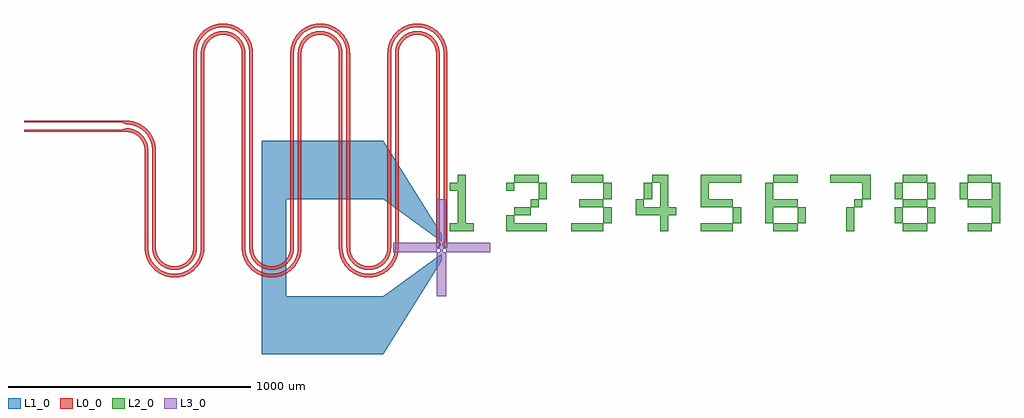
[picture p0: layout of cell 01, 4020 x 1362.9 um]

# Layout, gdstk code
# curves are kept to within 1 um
import gdstk
lib = gdstk.Library(unit=1e-6, precision=1e-09)
def R(c, l, rs):  # rectangles x0, y0, x1, y1
    for r in rs: c.add(gdstk.rectangle(r[:2], r[2:], *l))
def P(c, l, *ps):  # polygons
    for p in ps: c.add(gdstk.Polygon(p, *l))
L0_0 = (0, 0)
L1_0 = (1, 0)
L2_0 = (2, 0)
L3_0 = (3, 0)

c_01 = lib.new_cell('01')
R(c_01, L0_0, [(-1222.9,0,-1208.3,400), (-1191.7,0,-1177.1,400), (-1022.9,0,-1008.3,800), (-991.7,0,-977.1,800), (-822.9,0,-808.3,800), (-791.7,0,-777.1,800), (-622.9,0,-608.3,800), (-591.7,0,-577.1,800), (-422.9,0,-408.3,800), (-391.7,0,-377.1,800), (-222.9,0,-208.3,800), (-191.7,0,-177.1,800), (-22.9,0,-8.3,800), (8.3,0,22.9,800), (-1720,477.1,-1320,484.5), (-1720,515.5,-1320,522.9)])
P(c_01, L0_0, [(-8.3,800),(-10.239,818.757),(-15.056,834.546),(-22.626,849.215),(-34.329,864.001),(-48.809,876.081),(-65.454,884.944),(-81.243,889.761),(-100,891.7),(-100,877.1),(-86.177,875.851),(-70.954,871.42),(-56.959,863.968),(-46.189,855.215),(-36.032,843.041),(-28.58,829.046),(-24.149,813.823),(-22.9,800)],
  [(22.9,800),(20.909,822.034),(13.845,846.3),(3.7,865.96),(-11.985,885.777),(-31.392,901.967),(-53.7,913.845),(-77.966,920.909),(-100,922.9),(-100,908.3),(-77.847,906.01),(-59.2,900.321),(-39.542,889.854),(-24.413,877.559),(-10.146,860.458),(0.321,840.8),(6.01,822.153),(8.3,800)],
  [(-100,891.7),(-118.757,889.761),(-134.546,884.944),(-149.215,877.374),(-164.001,865.671),(-176.081,851.191),(-184.944,834.546),(-189.761,818.757),(-191.7,800),(-177.1,800),(-175.851,813.823),(-171.42,829.046),(-163.968,843.041),(-155.215,853.811),(-143.041,863.968),(-129.046,871.42),(-113.823,875.851),(-100,877.1)],
  [(-100,922.9),(-122.034,920.909),(-146.3,913.845),(-165.96,903.7),(-185.777,888.015),(-201.967,868.608),(-213.845,846.3),(-220.909,822.034),(-222.9,800),(-208.3,800),(-206.01,822.153),(-200.321,840.8),(-189.854,860.458),(-177.559,875.587),(-160.458,889.854),(-140.8,900.321),(-122.153,906.01),(-100,908.3)],
  [(-208.3,0),(-210.239,-18.757),(-215.056,-34.546),(-222.626,-49.215),(-234.329,-64.001),(-248.809,-76.081),(-265.454,-84.944),(-281.243,-89.761),(-300,-91.7),(-300,-77.1),(-286.177,-75.851),(-270.954,-71.42),(-256.959,-63.968),(-246.189,-55.215),(-236.032,-43.041),(-228.58,-29.046),(-224.149,-13.823),(-222.9,0)],
  [(-177.1,0),(-179.091,-22.034),(-186.155,-46.3),(-196.3,-65.96),(-211.985,-85.777),(-231.392,-101.967),(-253.7,-113.845),(-277.966,-120.909),(-300,-122.9),(-300,-108.3),(-277.847,-106.01),(-259.2,-100.321),(-239.542,-89.854),(-224.413,-77.559),(-210.146,-60.458),(-199.679,-40.8),(-193.99,-22.153),(-191.7,0)],
  [(-300,-91.7),(-318.757,-89.761),(-334.546,-84.944),(-349.215,-77.374),(-364.001,-65.671),(-376.081,-51.191),(-384.944,-34.546),(-389.761,-18.757),(-391.7,0),(-377.1,0),(-375.851,-13.823),(-371.42,-29.046),(-363.968,-43.041),(-355.215,-53.811),(-343.041,-63.968),(-329.046,-71.42),(-313.823,-75.851),(-300,-77.1)],
  [(-300,-122.9),(-322.034,-120.909),(-346.3,-113.845),(-365.96,-103.7),(-385.777,-88.015),(-401.967,-68.608),(-413.845,-46.3),(-420.909,-22.034),(-422.9,0),(-408.3,0),(-406.01,-22.153),(-400.321,-40.8),(-389.854,-60.458),(-377.559,-75.587),(-360.458,-89.854),(-340.8,-100.321),(-322.153,-106.01),(-300,-108.3)],
  [(-408.3,800),(-410.239,818.757),(-415.056,834.546),(-422.626,849.215),(-434.329,864.001),(-448.809,876.081),(-465.454,884.944),(-481.243,889.761),(-500,891.7),(-500,877.1),(-486.177,875.851),(-470.954,871.42),(-456.959,863.968),(-446.189,855.215),(-436.032,843.041),(-428.58,829.046),(-424.149,813.823),(-422.9,800)],
  [(-377.1,800),(-379.091,822.034),(-386.155,846.3),(-396.3,865.96),(-411.985,885.777),(-431.392,901.967),(-453.7,913.845),(-477.966,920.909),(-500,922.9),(-500,908.3),(-477.847,906.01),(-459.2,900.321),(-439.542,889.854),(-424.413,877.559),(-410.146,860.458),(-399.679,840.8),(-393.99,822.153),(-391.7,800)],
  [(-500,891.7),(-518.757,889.761),(-534.546,884.944),(-549.215,877.374),(-564.001,865.671),(-576.081,851.191),(-584.944,834.546),(-589.761,818.757),(-591.7,800),(-577.1,800),(-575.851,813.823),(-571.42,829.046),(-563.968,843.041),(-555.215,853.811),(-543.041,863.968),(-529.046,871.42),(-513.823,875.851),(-500,877.1)],
  [(-500,922.9),(-522.034,920.909),(-546.3,913.845),(-565.96,903.7),(-585.777,888.015),(-601.967,868.608),(-613.845,846.3),(-620.909,822.034),(-622.9,800),(-608.3,800),(-606.01,822.153),(-600.321,840.8),(-589.854,860.458),(-577.559,875.587),(-560.458,889.854),(-540.8,900.321),(-522.153,906.01),(-500,908.3)],
  [(-608.3,0),(-610.239,-18.757),(-615.056,-34.546),(-622.626,-49.215),(-634.329,-64.001),(-648.809,-76.081),(-665.454,-84.944),(-681.243,-89.761),(-700,-91.7),(-700,-77.1),(-686.177,-75.851),(-670.954,-71.42),(-656.959,-63.968),(-646.189,-55.215),(-636.032,-43.041),(-628.58,-29.046),(-624.149,-13.823),(-622.9,0)],
  [(-577.1,0),(-579.091,-22.034),(-586.155,-46.3),(-596.3,-65.96),(-611.985,-85.777),(-631.392,-101.967),(-653.7,-113.845),(-677.966,-120.909),(-700,-122.9),(-700,-108.3),(-677.847,-106.01),(-659.2,-100.321),(-639.542,-89.854),(-624.413,-77.559),(-610.146,-60.458),(-599.679,-40.8),(-593.99,-22.153),(-591.7,0)],
  [(-700,-91.7),(-718.757,-89.761),(-734.546,-84.944),(-749.215,-77.374),(-764.001,-65.671),(-776.081,-51.191),(-784.944,-34.546),(-789.761,-18.757),(-791.7,0),(-777.1,0),(-775.851,-13.823),(-771.42,-29.046),(-763.968,-43.041),(-755.215,-53.811),(-743.041,-63.968),(-729.046,-71.42),(-713.823,-75.851),(-700,-77.1)],
  [(-700,-122.9),(-722.034,-120.909),(-746.3,-113.845),(-765.96,-103.7),(-785.777,-88.015),(-801.967,-68.608),(-813.845,-46.3),(-820.909,-22.034),(-822.9,0),(-808.3,0),(-806.01,-22.153),(-800.321,-40.8),(-789.854,-60.458),(-777.559,-75.587),(-760.458,-89.854),(-740.8,-100.321),(-722.153,-106.01),(-700,-108.3)],
  [(-808.3,800),(-810.239,818.757),(-815.056,834.546),(-822.626,849.215),(-834.329,864.001),(-848.809,876.081),(-865.454,884.944),(-881.243,889.761),(-900,891.7),(-900,877.1),(-886.177,875.851),(-870.954,871.42),(-856.959,863.968),(-846.189,855.215),(-836.032,843.041),(-828.58,829.046),(-824.149,813.823),(-822.9,800)],
  [(-777.1,800),(-779.091,822.034),(-786.155,846.3),(-796.3,865.96),(-811.985,885.777),(-831.392,901.967),(-853.7,913.845),(-877.966,920.909),(-900,922.9),(-900,908.3),(-877.847,906.01),(-859.2,900.321),(-839.542,889.854),(-824.413,877.559),(-810.146,860.458),(-799.679,840.8),(-793.99,822.153),(-791.7,800)],
  [(-900,891.7),(-918.757,889.761),(-934.546,884.944),(-949.215,877.374),(-964.001,865.671),(-976.081,851.191),(-984.944,834.546),(-989.761,818.757),(-991.7,800),(-977.1,800),(-975.851,813.823),(-971.42,829.046),(-963.968,843.041),(-955.215,853.811),(-943.041,863.968),(-929.046,871.42),(-913.823,875.851),(-900,877.1)],
  [(-900,922.9),(-922.034,920.909),(-946.3,913.845),(-965.96,903.7),(-985.777,888.015),(-1001.967,868.608),(-1013.845,846.3),(-1020.909,822.034),(-1022.9,800),(-1008.3,800),(-1006.01,822.153),(-1000.321,840.8),(-989.854,860.458),(-977.559,875.587),(-960.458,889.854),(-940.8,900.321),(-922.153,906.01),(-900,908.3)],
  [(-1008.3,0),(-1010.239,-18.757),(-1015.056,-34.546),(-1022.626,-49.215),(-1034.329,-64.001),(-1048.809,-76.081),(-1065.454,-84.944),(-1081.243,-89.761),(-1100,-91.7),(-1100,-77.1),(-1086.177,-75.851),(-1070.954,-71.42),(-1056.959,-63.968),(-1046.189,-55.215),(-1036.032,-43.041),(-1028.58,-29.046),(-1024.149,-13.823),(-1022.9,0)],
  [(-977.1,0),(-979.091,-22.034),(-986.155,-46.3),(-996.3,-65.96),(-1011.985,-85.777),(-1031.392,-101.967),(-1053.7,-113.845),(-1077.966,-120.909),(-1100,-122.9),(-1100,-108.3),(-1077.847,-106.01),(-1059.2,-100.321),(-1039.542,-89.854),(-1024.413,-77.559),(-1010.146,-60.458),(-999.679,-40.8),(-993.99,-22.153),(-991.7,0)],
  [(-1100,-91.7),(-1118.757,-89.761),(-1134.546,-84.944),(-1149.215,-77.374),(-1164.001,-65.671),(-1176.081,-51.191),(-1184.944,-34.546),(-1189.761,-18.757),(-1191.7,0),(-1177.1,0),(-1175.851,-13.823),(-1171.42,-29.046),(-1163.968,-43.041),(-1155.215,-53.811),(-1143.041,-63.968),(-1129.046,-71.42),(-1113.823,-75.851),(-1100,-77.1)],
  [(-1100,-122.9),(-1122.034,-120.909),(-1146.3,-113.845),(-1165.96,-103.7),(-1185.777,-88.015),(-1201.967,-68.608),(-1213.845,-46.3),(-1220.909,-22.034),(-1222.9,0),(-1208.3,0),(-1206.01,-22.153),(-1200.321,-40.8),(-1189.854,-60.458),(-1177.559,-75.587),(-1160.458,-89.854),(-1140.8,-100.321),(-1122.153,-106.01),(-1100,-108.3)],
  [(-1208.3,400),(-1209.738,416.178),(-1214.843,434.016),(-1223.433,450.462),(-1235.158,464.842),(-1249.538,476.567),(-1265.984,485.157),(-1283.822,490.262),(-1300,491.7),(-1300,477.1),(-1284.48,475.522),(-1269.595,470.852),(-1255.955,463.281),(-1245.482,454.518),(-1236.719,444.045),(-1229.148,430.405),(-1224.478,415.52),(-1222.9,400)],
  [(-1177.1,400),(-1179.616,424.74),(-1187.06,448.466),(-1199.128,470.209),(-1213.097,486.903),(-1229.791,500.872),(-1251.534,512.94),(-1275.26,520.384),(-1300,522.9),(-1300,508.3),(-1278.199,506.083),(-1257.291,499.523),(-1238.132,488.889),(-1223.42,476.58),(-1211.111,461.868),(-1200.477,442.709),(-1193.917,421.801),(-1191.7,400)],
  [(-1300,477.1),(-1300,491.7),(-1320,484.5),(-1320,477.1)],
  [(-1300,508.3),(-1300,522.9),(-1320,522.9),(-1320,515.5)])
P(c_01, L1_0, [(0,25),(-240,200),(-640,200),(-640,-200),(-240,-200),(0,-25),(0,-55),(-240,-440),(-740,-440),(-740,440),(-240,440),(0,55)])
R(c_01, L2_0, [(366.667,166.667,400,200), (1700,166.667,1733.333,200), (266.667,233.333,300,266.667)])
P(c_01, L2_0, [(33.333,66.667),(66.667,66.667),(100,66.667),(133.333,66.667),(133.333,100),(100,100),(100,133.333),(100,166.667),(100,200),(100,233.333),(100,266.667),(100,300),(66.667,300),(66.667,266.667),(33.333,266.667),(33.333,233.333),(66.667,233.333),(66.667,200),(66.667,166.667),(66.667,133.333),(66.667,100),(33.333,100)],
  [(266.667,66.667),(300,66.667),(333.333,66.667),(366.667,66.667),(400,66.667),(433.333,66.667),(433.333,100),(400,100),(366.667,100),(333.333,100),(300,100),(300,133.333),(266.667,133.333),(266.667,100)],
  [(300,133.333),(333.333,133.333),(366.667,133.333),(366.667,166.667),(333.333,166.667),(300,166.667)],
  [(300,266.667),(333.333,266.667),(366.667,266.667),(400,266.667),(400,300),(366.667,300),(333.333,300),(300,300)],
  [(400,200),(433.333,200),(433.333,233.333),(433.333,266.667),(400,266.667),(400,233.333)],
  [(533.333,66.667),(566.667,66.667),(600,66.667),(633.333,66.667),(666.667,66.667),(666.667,100),(633.333,100),(600,100),(566.667,100),(533.333,100)],
  [(533.333,266.667),(566.667,266.667),(600,266.667),(633.333,266.667),(666.667,266.667),(666.667,300),(633.333,300),(600,300),(566.667,300),(533.333,300)],
  [(566.667,166.667),(600,166.667),(633.333,166.667),(666.667,166.667),(666.667,200),(633.333,200),(600,200),(566.667,200)],
  [(666.667,100),(700,100),(700,133.333),(700,166.667),(666.667,166.667),(666.667,133.333)],
  [(666.667,200),(700,200),(700,233.333),(700,266.667),(666.667,266.667),(666.667,233.333)],
  [(800,133.333),(833.333,133.333),(866.667,133.333),(900,133.333),(900,100),(900,66.667),(933.333,66.667),(933.333,100),(933.333,133.333),(966.667,133.333),(966.667,166.667),(933.333,166.667),(933.333,200),(933.333,233.333),(933.333,266.667),(933.333,300),(900,300),(866.667,300),(866.667,266.667),(900,266.667),(900,233.333),(900,200),(900,166.667),(866.667,166.667),(833.333,166.667),(833.333,200),(800,200),(800,166.667)],
  [(833.333,200),(866.667,200),(866.667,233.333),(866.667,266.667),(833.333,266.667),(833.333,233.333)],
  [(1066.667,66.667),(1100,66.667),(1133.333,66.667),(1166.667,66.667),(1200,66.667),(1200,100),(1166.667,100),(1133.333,100),(1100,100),(1066.667,100)],
  [(1066.667,166.667),(1100,166.667),(1133.333,166.667),(1166.667,166.667),(1200,166.667),(1200,200),(1166.667,200),(1133.333,200),(1100,200),(1100,233.333),(1100,266.667),(1133.333,266.667),(1166.667,266.667),(1200,266.667),(1233.333,266.667),(1233.333,300),(1200,300),(1166.667,300),(1133.333,300),(1100,300),(1066.667,300),(1066.667,266.667),(1066.667,233.333),(1066.667,200)],
  [(1200,100),(1233.333,100),(1233.333,133.333),(1233.333,166.667),(1200,166.667),(1200,133.333)],
  [(1333.333,100),(1366.667,100),(1366.667,133.333),(1366.667,166.667),(1400,166.667),(1433.333,166.667),(1466.667,166.667),(1466.667,200),(1433.333,200),(1400,200),(1366.667,200),(1366.667,233.333),(1366.667,266.667),(1333.333,266.667),(1333.333,233.333),(1333.333,200),(1333.333,166.667),(1333.333,133.333)],
  [(1366.667,66.667),(1400,66.667),(1433.333,66.667),(1466.667,66.667),(1466.667,100),(1433.333,100),(1400,100),(1366.667,100)],
  [(1366.667,266.667),(1400,266.667),(1433.333,266.667),(1466.667,266.667),(1466.667,300),(1433.333,300),(1400,300),(1366.667,300)],
  [(1466.667,100),(1500,100),(1500,133.333),(1500,166.667),(1466.667,166.667),(1466.667,133.333)],
  [(1600,266.667),(1633.333,266.667),(1666.667,266.667),(1700,266.667),(1733.333,266.667),(1733.333,233.333),(1733.333,200),(1766.667,200),(1766.667,233.333),(1766.667,266.667),(1766.667,300),(1733.333,300),(1700,300),(1666.667,300),(1633.333,300),(1600,300)],
  [(1666.667,66.667),(1700,66.667),(1700,100),(1700,133.333),(1700,166.667),(1666.667,166.667),(1666.667,133.333),(1666.667,100)],
  [(1866.667,100),(1900,100),(1900,133.333),(1900,166.667),(1866.667,166.667),(1866.667,133.333)],
  [(1866.667,200),(1900,200),(1900,233.333),(1900,266.667),(1866.667,266.667),(1866.667,233.333)],
  [(1900,66.667),(1933.333,66.667),(1966.667,66.667),(2000,66.667),(2000,100),(1966.667,100),(1933.333,100),(1900,100)],
  [(1900,166.667),(1933.333,166.667),(1966.667,166.667),(2000,166.667),(2000,200),(1966.667,200),(1933.333,200),(1900,200)],
  [(1900,266.667),(1933.333,266.667),(1966.667,266.667),(2000,266.667),(2000,300),(1966.667,300),(1933.333,300),(1900,300)],
  [(2000,100),(2033.333,100),(2033.333,133.333),(2033.333,166.667),(2000,166.667),(2000,133.333)],
  [(2000,200),(2033.333,200),(2033.333,233.333),(2033.333,266.667),(2000,266.667),(2000,233.333)],
  [(2133.333,200),(2166.667,200),(2166.667,233.333),(2166.667,266.667),(2133.333,266.667),(2133.333,233.333)],
  [(2166.667,66.667),(2200,66.667),(2233.333,66.667),(2266.667,66.667),(2266.667,100),(2233.333,100),(2200,100),(2166.667,100)],
  [(2166.667,166.667),(2200,166.667),(2233.333,166.667),(2266.667,166.667),(2266.667,133.333),(2266.667,100),(2300,100),(2300,133.333),(2300,166.667),(2300,200),(2300,233.333),(2300,266.667),(2266.667,266.667),(2266.667,233.333),(2266.667,200),(2233.333,200),(2200,200),(2166.667,200)],
  [(2166.667,266.667),(2200,266.667),(2233.333,266.667),(2266.667,266.667),(2266.667,300),(2233.333,300),(2200,300),(2166.667,300)])
P(c_01, L3_0, [(-20,5),(-20,20),(-200,20),(-200,-5),(-20,-5),(-5,-5),(-5,-20),(-20,-20),(-20,-5),(-200,-5),(-200,-20),(-20,-20),(-20,-200),(20,-200),(20,-20),(5,-20),(5,-5),(20,-5),(20,-20),(200,-20),(200,20),(20,20),(20,200),(-20,200),(-20,20),(-5,20),(-5,5),(5,5),(5,20),(20,20),(20,5),(5,5),(-5,5)])

lib.write_gds('01.gds')
